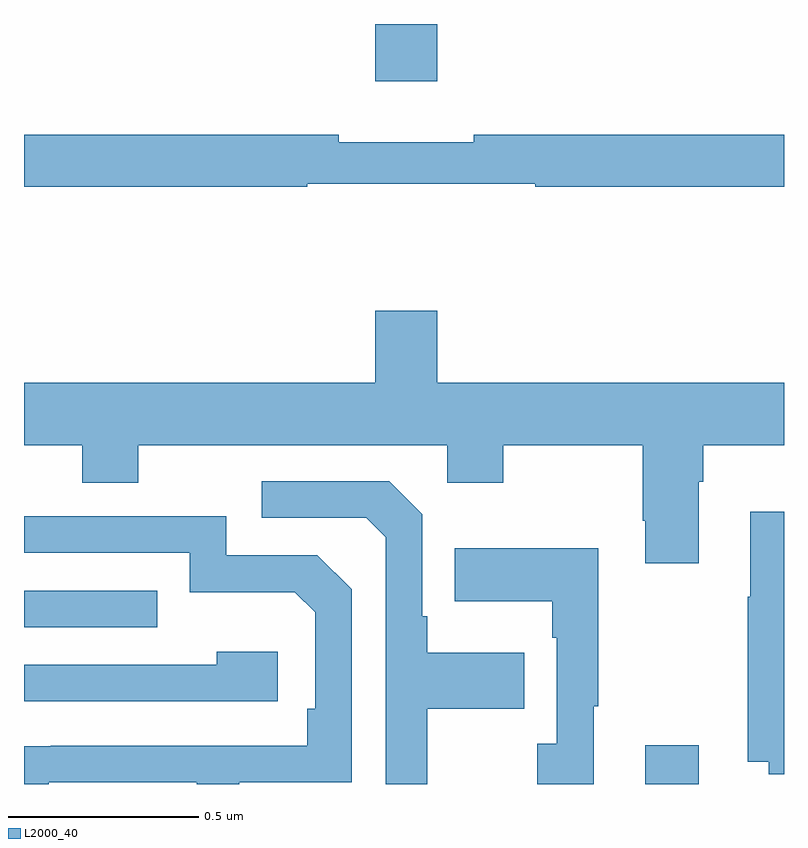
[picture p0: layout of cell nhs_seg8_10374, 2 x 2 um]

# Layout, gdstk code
import gdstk
lib = gdstk.Library(unit=1e-6, precision=1e-09)
def R(c, l, rs):  # rectangles x0, y0, x1, y1
    for r in rs: c.add(gdstk.rectangle(r[:2], r[2:], *l))
def P(c, l, *ps):  # polygons
    for p in ps: c.add(gdstk.Polygon(p, *l))
L2000_40 = (2000, 40)

nhs_seg8_10374 = lib.new_cell('nhs_seg8_10374')
R(nhs_seg8_10374, L2000_40, [(249.635,1156.9,249.775,1157.002), (248,1157.313,248.351,1157.409), (248.924,1158.75,249.088,1158.9)])
P(nhs_seg8_10374, L2000_40, [(248.745,1158.48),(249.345,1158.48),(249.345,1158.472),(250,1158.472),(250,1158.608),(249.184,1158.608),(249.184,1158.589),(248.828,1158.589),(248.828,1158.608),(248,1158.608),(248,1158.472),(248.745,1158.472)],
  [(249.775,1157.696),(249.788,1157.696),(249.788,1157.792),(250,1157.792),(250,1157.956),(249.088,1157.956),(249.088,1158.145),(248.924,1158.145),(248.924,1157.956),(248,1157.956),(248,1157.792),(248.153,1157.792),(248.153,1157.693),(248.301,1157.693),(248.301,1157.792),(249.114,1157.792),(249.114,1157.693),(249.261,1157.693),(249.261,1157.792),(249.628,1157.792),(249.628,1157.593),(249.635,1157.593),(249.635,1157.481),(249.775,1157.481)],
  [(249.061,1157.098),(249.317,1157.098),(249.317,1157.245),(249.061,1157.245),(249.061,1157.341),(249.048,1157.341),(249.048,1157.61),(248.961,1157.697),(248.625,1157.697),(248.625,1157.601),(248.901,1157.601),(248.952,1157.55),(248.952,1156.9),(249.061,1156.9)],
  [(250,1157.617),(249.911,1157.617),(249.911,1157.393),(249.904,1157.393),(249.904,1156.958),(249.96,1156.958),(249.96,1156.926),(250,1156.926)],
  [(248.065,1156.905),(248.455,1156.905),(248.455,1156.9),(248.567,1156.9),(248.567,1156.905),(248.862,1156.905),(248.862,1157.412),(248.772,1157.502),(248.532,1157.502),(248.532,1157.604),(248,1157.604),(248,1157.508),(248.436,1157.508),(248.436,1157.405),(248.713,1157.405),(248.766,1157.352),(248.766,1157.098),(248.746,1157.098),(248.746,1157.001),(248.071,1157.001),(248.071,1157),(248,1157),(248,1156.9),(248.065,1156.9)],
  [(249.499,1157.105),(249.511,1157.105),(249.511,1157.521),(249.133,1157.521),(249.133,1157.381),(249.39,1157.381),(249.39,1157.285),(249.402,1157.285),(249.402,1157.006),(249.351,1157.006),(249.351,1156.9),(249.499,1156.9)],
  [(248.668,1157.248),(248.507,1157.248),(248.507,1157.214),(248,1157.214),(248,1157.118),(248.668,1157.118)])

lib.write_gds('nhs_seg8_10374.gds')
